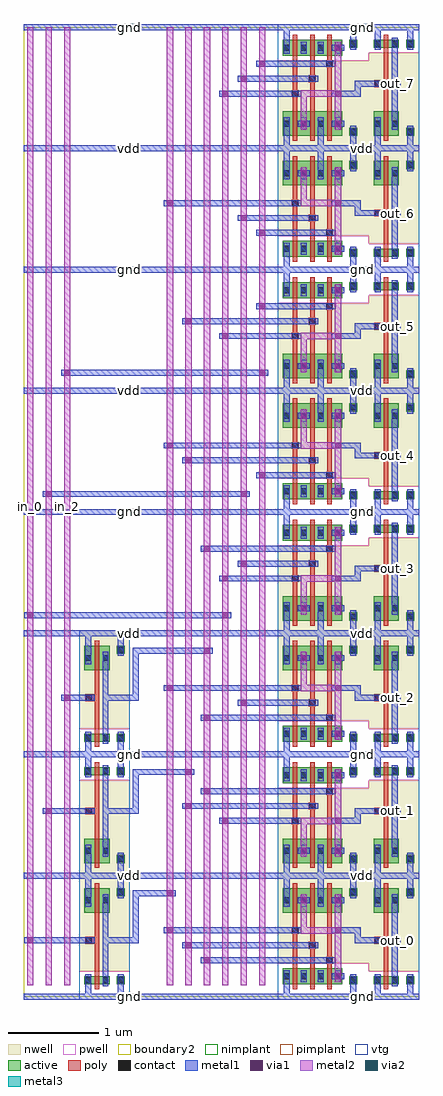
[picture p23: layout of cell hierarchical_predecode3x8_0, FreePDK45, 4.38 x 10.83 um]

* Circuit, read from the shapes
.subckt hierarchical_predecode3x8_0 gnd in_0 in_1 in_2 out_0 out_1 out_2 out_3 out_4 out_5 out_6 out_7 vdd
M1 pnand3_0_11/A in_0 gnd gnd nfet w=0.09u l=0.05u
M2 pnand3_0_11/B in_1 gnd gnd nfet w=0.09u l=0.05u
M3 pnand3_0_11/C in_2 gnd gnd nfet w=0.09u l=0.05u
M4 pnand3_0_11/nmos_m1_w0_180_a_p_3/D pnand3_0_11/A gnd gnd nfet w=0.18u l=0.05u
M5 pnand3_0_12/nmos_m1_w0_180_a_p_3/D in_0 gnd gnd nfet w=0.18u l=0.05u
M6 pnand3_0_13/nmos_m1_w0_180_a_p_3/D pnand3_0_11/A gnd gnd nfet w=0.18u l=0.05u
M7 pnand3_0_14/nmos_m1_w0_180_a_p_3/D in_0 gnd gnd nfet w=0.18u l=0.05u
M8 pnand3_0_15/nmos_m1_w0_180_a_p_3/D pnand3_0_11/A gnd gnd nfet w=0.18u l=0.05u
M9 pnand3_0_16/nmos_m1_w0_180_a_p_3/D in_0 gnd gnd nfet w=0.18u l=0.05u
M10 pnand3_0_17/nmos_m1_w0_180_a_p_3/D pnand3_0_11/A gnd gnd nfet w=0.18u l=0.05u
M11 pnand3_0_18/nmos_m1_w0_180_a_p_3/D in_0 gnd gnd nfet w=0.18u l=0.05u
M12 pnand3_0_11/nmos_m1_w0_180_a_p_4/D pnand3_0_11/B pnand3_0_11/nmos_m1_w0_180_a_p_3/D gnd nfet w=0.18u l=0.05u
M13 pnand3_0_12/nmos_m1_w0_180_a_p_4/D pnand3_0_11/B pnand3_0_12/nmos_m1_w0_180_a_p_3/D gnd nfet w=0.18u l=0.05u
M14 pnand3_0_13/nmos_m1_w0_180_a_p_4/D in_1 pnand3_0_13/nmos_m1_w0_180_a_p_3/D gnd nfet w=0.18u l=0.05u
M15 pnand3_0_14/nmos_m1_w0_180_a_p_4/D in_1 pnand3_0_14/nmos_m1_w0_180_a_p_3/D gnd nfet w=0.18u l=0.05u
M16 pnand3_0_15/nmos_m1_w0_180_a_p_4/D pnand3_0_11/B pnand3_0_15/nmos_m1_w0_180_a_p_3/D gnd nfet w=0.18u l=0.05u
M17 pnand3_0_16/nmos_m1_w0_180_a_p_4/D pnand3_0_11/B pnand3_0_16/nmos_m1_w0_180_a_p_3/D gnd nfet w=0.18u l=0.05u
M18 pnand3_0_17/nmos_m1_w0_180_a_p_4/D in_1 pnand3_0_17/nmos_m1_w0_180_a_p_3/D gnd nfet w=0.18u l=0.05u
M19 pnand3_0_18/nmos_m1_w0_180_a_p_4/D in_1 pnand3_0_18/nmos_m1_w0_180_a_p_3/D gnd nfet w=0.18u l=0.05u
M20 pinv_0_3/A pnand3_0_11/C pnand3_0_11/nmos_m1_w0_180_a_p_4/D gnd nfet w=0.18u l=0.05u
M21 pinv_0_4/A pnand3_0_11/C pnand3_0_12/nmos_m1_w0_180_a_p_4/D gnd nfet w=0.18u l=0.05u
M22 pinv_0_5/A pnand3_0_11/C pnand3_0_13/nmos_m1_w0_180_a_p_4/D gnd nfet w=0.18u l=0.05u
M23 pinv_0_6/A pnand3_0_11/C pnand3_0_14/nmos_m1_w0_180_a_p_4/D gnd nfet w=0.18u l=0.05u
M24 pinv_0_7/A in_2 pnand3_0_15/nmos_m1_w0_180_a_p_4/D gnd nfet w=0.18u l=0.05u
M25 pinv_0_8/A in_2 pnand3_0_16/nmos_m1_w0_180_a_p_4/D gnd nfet w=0.18u l=0.05u
M26 pinv_0_9/A in_2 pnand3_0_17/nmos_m1_w0_180_a_p_4/D gnd nfet w=0.18u l=0.05u
M27 pinv_0_10/A in_2 pnand3_0_18/nmos_m1_w0_180_a_p_4/D gnd nfet w=0.18u l=0.05u
M28 out_0 pinv_0_3/A gnd gnd nfet w=0.09u l=0.05u
M29 out_1 pinv_0_4/A gnd gnd nfet w=0.09u l=0.05u
M30 out_2 pinv_0_5/A gnd gnd nfet w=0.09u l=0.05u
M31 out_3 pinv_0_6/A gnd gnd nfet w=0.09u l=0.05u
M32 out_4 pinv_0_7/A gnd gnd nfet w=0.09u l=0.05u
M33 out_5 pinv_0_8/A gnd gnd nfet w=0.09u l=0.05u
M34 out_6 pinv_0_9/A gnd gnd nfet w=0.09u l=0.05u
M35 out_7 pinv_0_10/A gnd gnd nfet w=0.09u l=0.05u
M36 pnand3_0_11/A in_0 vdd vdd pfet w=0.27u l=0.05u
M37 pnand3_0_11/B in_1 vdd vdd pfet w=0.27u l=0.05u
M38 pnand3_0_11/C in_2 vdd vdd pfet w=0.27u l=0.05u
M39 pinv_0_3/A pnand3_0_11/A vdd vdd pfet w=0.27u l=0.05u
M40 pinv_0_4/A in_0 vdd vdd pfet w=0.27u l=0.05u
M41 pinv_0_5/A pnand3_0_11/A vdd vdd pfet w=0.27u l=0.05u
M42 pinv_0_6/A in_0 vdd vdd pfet w=0.27u l=0.05u
M43 pinv_0_7/A pnand3_0_11/A vdd vdd pfet w=0.27u l=0.05u
M44 pinv_0_8/A in_0 vdd vdd pfet w=0.27u l=0.05u
M45 pinv_0_9/A pnand3_0_11/A vdd vdd pfet w=0.27u l=0.05u
M46 pinv_0_10/A in_0 vdd vdd pfet w=0.27u l=0.05u
M47 vdd pnand3_0_11/B pinv_0_3/A vdd pfet w=0.27u l=0.05u
M48 vdd pnand3_0_11/B pinv_0_4/A vdd pfet w=0.27u l=0.05u
M49 vdd in_1 pinv_0_5/A vdd pfet w=0.27u l=0.05u
M50 vdd in_1 pinv_0_6/A vdd pfet w=0.27u l=0.05u
M51 vdd pnand3_0_11/B pinv_0_7/A vdd pfet w=0.27u l=0.05u
M52 vdd pnand3_0_11/B pinv_0_8/A vdd pfet w=0.27u l=0.05u
M53 vdd in_1 pinv_0_9/A vdd pfet w=0.27u l=0.05u
M54 vdd in_1 pinv_0_10/A vdd pfet w=0.27u l=0.05u
M55 pinv_0_3/A pnand3_0_11/C vdd vdd pfet w=0.27u l=0.05u
M56 pinv_0_4/A pnand3_0_11/C vdd vdd pfet w=0.27u l=0.05u
M57 pinv_0_5/A pnand3_0_11/C vdd vdd pfet w=0.27u l=0.05u
M58 pinv_0_6/A pnand3_0_11/C vdd vdd pfet w=0.27u l=0.05u
M59 pinv_0_7/A in_2 vdd vdd pfet w=0.27u l=0.05u
M60 pinv_0_8/A in_2 vdd vdd pfet w=0.27u l=0.05u
M61 pinv_0_9/A in_2 vdd vdd pfet w=0.27u l=0.05u
M62 pinv_0_10/A in_2 vdd vdd pfet w=0.27u l=0.05u
M63 out_0 pinv_0_3/A vdd vdd pfet w=0.27u l=0.05u
M64 out_1 pinv_0_4/A vdd vdd pfet w=0.27u l=0.05u
M65 out_2 pinv_0_5/A vdd vdd pfet w=0.27u l=0.05u
M66 out_3 pinv_0_6/A vdd vdd pfet w=0.27u l=0.05u
M67 out_4 pinv_0_7/A vdd vdd pfet w=0.27u l=0.05u
M68 out_5 pinv_0_8/A vdd vdd pfet w=0.27u l=0.05u
M69 out_6 pinv_0_9/A vdd vdd pfet w=0.27u l=0.05u
M70 out_7 pinv_0_10/A vdd vdd pfet w=0.27u l=0.05u
.ends

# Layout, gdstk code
import gdstk
lib = gdstk.Library(unit=1e-6, precision=5e-10)
def R(c, l, rs):  # rectangles x0, y0, x1, y1
    for r in rs: c.add(gdstk.rectangle(r[:2], r[2:], *l))
def A(c, l, x, y, w, h, nx, ny, dx, dy):  # array of equal rectangles
    R(c, l, [(x+i*dx, y+j*dy, x+i*dx+w, y+j*dy+h) for i in range(nx) for j in range(ny)])
active = (1, 0)
pwell = (2, 0)
nwell = (3, 0)
nimplant = (4, 0)
pimplant = (5, 0)
vtg = (6, 0)
poly = (9, 0)
contact = (10, 0)
metal1 = (11, 0)
via1 = (12, 0)
metal2 = (13, 0)
via2 = (14, 0)
metal3 = (15, 0)
boundary2 = (239, 0)

contact_9 = lib.new_cell('contact_9')
R(contact_9, active, [(0,0.0225,0.09,0.1125)])
R(contact_9, nwell, [(-0.055,-0.0325,0.145,0.1675)])
R(contact_9, pimplant, [(0,0.0225,0.09,0.1125)])
R(contact_9, contact, [(0.0125,0.035,0.0775,0.1)])
R(contact_9, metal1, [(0.0125,0,0.0775,0.135)])

pmos_m1_w0_270_a_p = lib.new_cell('pmos_m1_w0_270_a_p')
R(pmos_m1_w0_270_a_p, active, [(0,0,0.28,0.27)])
R(pmos_m1_w0_270_a_p, nwell, [(-0.055,-0.055,0.335,0.325)])
R(pmos_m1_w0_270_a_p, pimplant, [(0,0,0.28,0.27)])
R(pmos_m1_w0_270_a_p, vtg, [(-0.055,-0.055,0.335,0.325)])
R(pmos_m1_w0_270_a_p, poly, [(0.115,-0.055,0.165,0.325), (0.115,-0.055,0.165,0.325)])
R(pmos_m1_w0_270_a_p, metal1, [(0.0125,0.0675,0.0775,0.2025), (0.2025,0.0675,0.2675,0.2025)])
pmos_m1_w0_270_a_p.add(gdstk.Reference(contact_9, (0,0.0675)))
pmos_m1_w0_270_a_p.add(gdstk.Reference(contact_9, (0.19,0.0675)))
pmos_m1_w0_270_a_p.add(gdstk.Label('G', (0.14,0.135), layer=9, texttype=0))
pmos_m1_w0_270_a_p.add(gdstk.Label('S', (0.045,0.135), layer=11, texttype=0))
pmos_m1_w0_270_a_p.add(gdstk.Label('D', (0.235,0.135), layer=11, texttype=0))

contact_14 = lib.new_cell('contact_14')
R(contact_14, active, [(0,0.0225,0.09,0.1125)])
R(contact_14, pwell, [(-0.055,-0.0325,0.145,0.1675)])
R(contact_14, nimplant, [(0,0.0225,0.09,0.1125)])
R(contact_14, contact, [(0.0125,0.035,0.0775,0.1)])
R(contact_14, metal1, [(0.0125,0,0.0775,0.135)])

nmos_m1_w0_090_a_p = lib.new_cell('nmos_m1_w0_090_a_p')
R(nmos_m1_w0_090_a_p, active, [(0,0,0.28,0.09)])
R(nmos_m1_w0_090_a_p, pwell, [(-0.055,-0.055,0.335,0.145)])
R(nmos_m1_w0_090_a_p, nimplant, [(0,0,0.28,0.09)])
R(nmos_m1_w0_090_a_p, vtg, [(-0.055,-0.055,0.335,0.145)])
R(nmos_m1_w0_090_a_p, poly, [(0.115,-0.055,0.165,0.145), (0.115,-0.055,0.165,0.145)])
R(nmos_m1_w0_090_a_p, metal1, [(0.0125,-0.0225,0.0775,0.1125), (0.2025,-0.0225,0.2675,0.1125)])
nmos_m1_w0_090_a_p.add(gdstk.Reference(contact_14, (0,-0.0225)))
nmos_m1_w0_090_a_p.add(gdstk.Reference(contact_14, (0.19,-0.0225)))
nmos_m1_w0_090_a_p.add(gdstk.Label('G', (0.14,0.045), layer=9, texttype=0))
nmos_m1_w0_090_a_p.add(gdstk.Label('S', (0.045,0.045), layer=11, texttype=0))
nmos_m1_w0_090_a_p.add(gdstk.Label('D', (0.235,0.045), layer=11, texttype=0))

contact_18 = lib.new_cell('contact_18')
R(contact_18, active, [(0,0.0225,0.09,0.1125)])
R(contact_18, nwell, [(-0.055,-0.0325,0.145,0.1675)])
R(contact_18, nimplant, [(0,0.0225,0.09,0.1125)])
R(contact_18, contact, [(0.0125,0.035,0.0775,0.1)])
R(contact_18, metal1, [(0.0125,0,0.0775,0.135)])

contact_19 = lib.new_cell('contact_19')
R(contact_19, active, [(0,0.0225,0.09,0.1125)])
R(contact_19, pwell, [(-0.055,-0.0325,0.145,0.1675)])
R(contact_19, pimplant, [(0,0.0225,0.09,0.1125)])
R(contact_19, contact, [(0.0125,0.035,0.0775,0.1)])
R(contact_19, metal1, [(0.0125,0,0.0775,0.135)])

contact_10 = lib.new_cell('contact_10')
R(contact_10, poly, [(0.03,0,0.105,0.075)])
R(contact_10, contact, [(0.035,0.005,0.1,0.07)])
R(contact_10, metal1, [(0,0.005,0.135,0.07)])

pinv_0 = lib.new_cell('pinv_0')
R(pinv_0, pwell, [(0,-0.0325,0.56,0.285)])
R(pinv_0, nwell, [(0,0.285,0.56,1.3775)])
R(pinv_0, vtg, [(0,-0.0325,0.56,0.285), (0,0.285,0.56,1.3775)])
R(pinv_0, poly, [(0.17,0.085,0.22,0.88), (0.1025,0.59,0.17,0.665)])
R(pinv_0, metal1, [(0,-0.0325,0.56,0.0325), (0.0675,-0.0325,0.1325,0.1175), (0.4275,0,0.4925,0.185), (0.2575,0.1175,0.3225,1.1375), (0.035,0.595,0.17,0.66), (0.29,0.595,0.355,0.66), (0.0675,1.0025,0.1325,1.3775), (0.4275,1.16,0.4925,1.345), (0,1.3125,0.56,1.3775)])
R(pinv_0, boundary2, [(0,0,0.56,1.345)])
pinv_0.add(gdstk.Reference(pmos_m1_w0_270_a_p, (0.055,0.935)))
pinv_0.add(gdstk.Reference(nmos_m1_w0_090_a_p, (0.055,0.14)))
pinv_0.add(gdstk.Reference(contact_18, (0.415,1.0925)))
pinv_0.add(gdstk.Reference(contact_19, (0.415,0.1175)))
pinv_0.add(gdstk.Reference(contact_10, (0.035,0.59)))
pinv_0.add(gdstk.Label('gnd', (0.28,0), layer=11, texttype=0))
pinv_0.add(gdstk.Label('vdd', (0.28,1.345), layer=11, texttype=0))
pinv_0.add(gdstk.Label('A', (0.1025,0.6275), layer=11, texttype=0))
pinv_0.add(gdstk.Label('Z', (0.3225,0.6275), layer=11, texttype=0))

nmos_m1_w0_180_a_p = lib.new_cell('nmos_m1_w0_180_a_p')
R(nmos_m1_w0_180_a_p, active, [(0,0,0.28,0.18)])
R(nmos_m1_w0_180_a_p, pwell, [(-0.055,-0.055,0.335,0.235)])
R(nmos_m1_w0_180_a_p, nimplant, [(0,0,0.28,0.18)])
R(nmos_m1_w0_180_a_p, vtg, [(-0.055,-0.055,0.335,0.235)])
R(nmos_m1_w0_180_a_p, poly, [(0.115,-0.055,0.165,0.235), (0.115,-0.055,0.165,0.235)])
R(nmos_m1_w0_180_a_p, metal1, [(0.0125,0.0225,0.0775,0.1575), (0.2025,0.0225,0.2675,0.1575)])
nmos_m1_w0_180_a_p.add(gdstk.Reference(contact_14, (0,0.0225)))
nmos_m1_w0_180_a_p.add(gdstk.Reference(contact_14, (0.19,0.0225)))
nmos_m1_w0_180_a_p.add(gdstk.Label('G', (0.14,0.09), layer=9, texttype=0))
nmos_m1_w0_180_a_p.add(gdstk.Label('S', (0.045,0.09), layer=11, texttype=0))
nmos_m1_w0_180_a_p.add(gdstk.Label('D', (0.235,0.09), layer=11, texttype=0))

contact_16 = lib.new_cell('contact_16')
R(contact_16, metal1, [(0,0.035,0.135,0.1)])
R(contact_16, via1, [(0.035,0.035,0.1,0.1)])
R(contact_16, metal2, [(0.0325,0,0.1025,0.135)])

pnand3_0 = lib.new_cell('pnand3_0')
R(pnand3_0, pwell, [(0,-0.0325,1.01,0.375)])
R(pnand3_0, nwell, [(0,0.375,1.01,1.3775)])
R(pnand3_0, vtg, [(0,-0.0325,1.01,0.375), (0,0.375,1.01,1.3775)])
A(pnand3_0, poly, 0.17, 0.085, 0.05, 0.795, 3, 1, 0.19, 0)
R(pnand3_0, poly, [(0.55,0.37,0.575,0.445), (0.36,0.535,0.385,0.61), (0.17,0.7,0.195,0.775)])
R(pnand3_0, metal1, [(0,-0.0325,1.01,0.0325), (0.0675,-0.0325,0.1325,0.1625), (0.8075,0,0.8725,0.185), (0.5075,0.375,0.6425,0.44), (0.3175,0.54,0.4525,0.605), (0.1275,0.705,0.2625,0.77), (0.6025,0.705,0.7375,0.77), (0.0675,1.0025,0.1325,1.3775), (0.4475,1.0025,0.5125,1.3775), (0.8075,1.16,0.8725,1.345), (0,1.3125,1.01,1.3775)])
R(pnand3_0, metal2, [(0.635,0.2975,0.705,1.0025), (0.635,0.2975,0.705,0.7375), (0.255,0.7025,0.325,0.7725), (0.29,0.7025,0.67,0.7725), (0.635,0.7025,0.705,0.7725), (0.255,0.7375,0.325,1.0025)])
R(pnand3_0, boundary2, [(0,0,1.01,1.345)])
pnand3_0.add(gdstk.Reference(pmos_m1_w0_270_a_p, (0.055,0.935)))
pnand3_0.add(gdstk.Reference(pmos_m1_w0_270_a_p, (0.245,0.935)))
pnand3_0.add(gdstk.Reference(pmos_m1_w0_270_a_p, (0.435,0.935)))
pnand3_0.add(gdstk.Reference(nmos_m1_w0_180_a_p, (0.055,0.14)))
pnand3_0.add(gdstk.Reference(nmos_m1_w0_180_a_p, (0.245,0.14)))
pnand3_0.add(gdstk.Reference(nmos_m1_w0_180_a_p, (0.435,0.14)))
pnand3_0.add(gdstk.Reference(contact_18, (0.795,1.0925)))
pnand3_0.add(gdstk.Reference(contact_19, (0.795,0.1175)))
pnand3_0.add(gdstk.Reference(contact_10, (0.5075,0.37)))
pnand3_0.add(gdstk.Reference(contact_10, (0.3175,0.535)))
pnand3_0.add(gdstk.Reference(contact_10, (0.1275,0.7)))
pnand3_0.add(gdstk.Reference(contact_16, (0.2225,1.0025)))
pnand3_0.add(gdstk.Reference(contact_16, (0.6025,1.0025)))
pnand3_0.add(gdstk.Reference(contact_16, (0.6025,0.1625)))
pnand3_0.add(gdstk.Reference(contact_16, (0.6025,0.67)))
pnand3_0.add(gdstk.Label('gnd', (0.505,0), layer=11, texttype=0))
pnand3_0.add(gdstk.Label('vdd', (0.505,1.345), layer=11, texttype=0))
pnand3_0.add(gdstk.Label('C', (0.575,0.4075), layer=11, texttype=0))
pnand3_0.add(gdstk.Label('B', (0.385,0.5725), layer=11, texttype=0))
pnand3_0.add(gdstk.Label('A', (0.195,0.7375), layer=11, texttype=0))
pnand3_0.add(gdstk.Label('Z', (0.67,0.7375), layer=11, texttype=0))

contact_5 = lib.new_cell('contact_5')
R(contact_5, metal1, [(0,0.0025,0.135,0.0675)])
R(contact_5, via1, [(0.035,0.0025,0.1,0.0675)])
R(contact_5, metal2, [(0,0,0.135,0.07)])

contact_6 = lib.new_cell('contact_6')
R(contact_6, metal2, [(0,0,0.135,0.07)])
R(contact_6, via2, [(0.035,0.0025,0.1,0.0675)])
R(contact_6, metal3, [(0,0,0.135,0.07)])

hierarchical_predecode3x = lib.new_cell('hierarchical_predecode3x8_0')
A(hierarchical_predecode3x, metal1, 1.62, 0.705, 1.3225, 0.065, 1, 4, 0, 2.69)
A(hierarchical_predecode3x, metal1, 2.235, 1.92, 0.7075, 0.065, 1, 4, 0, 2.69)
R(hierarchical_predecode3x, metal1, [(0,-0.0325,4.385,0.0325), (2.03,0.375,3.3225,0.44), (1.825,0.54,3.1325,0.605), (0.07,0.595,0.65,0.66), (0.97,0.595,1.24,0.66), (1.2075,0.595,1.2725,0.66), (3.6725,0.595,3.7375,0.66), (3.705,0.595,3.86,0.66), (4.115,0.595,4.18,0.66), (1.2075,0.6275,1.2725,1.15), (3.6725,0.6275,3.7375,0.7375), (3.5525,0.705,3.705,0.77), (3.6725,0.705,3.7375,0.77), (1.2075,1.1175,1.2725,1.1825), (1.24,1.1175,1.62,1.1825), (0,1.3125,4.385,1.3775), (0,1.3125,4.385,1.3775), (3.5525,1.92,3.705,1.985), (3.6725,1.92,3.7375,1.985), (3.6725,1.9525,3.7375,2.0625), (0.275,2.03,0.65,2.095), (0.97,2.03,1.24,2.095), (1.2075,2.03,1.2725,2.095), (3.6725,2.03,3.7375,2.095), (3.705,2.03,3.86,2.095), (4.115,2.03,4.18,2.095), (1.2075,2.0625,1.2725,2.495), (1.825,2.085,3.1325,2.15), (2.03,2.25,3.3225,2.315), (1.2075,2.4625,1.2725,2.5275), (1.24,2.4625,1.825,2.5275), (0,2.6575,4.385,2.7225), (0,2.6575,4.385,2.7225), (2.03,3.065,3.3225,3.13), (2.44,3.23,3.1325,3.295), (0.48,3.285,0.65,3.35), (0.97,3.285,1.24,3.35), (1.2075,3.285,1.2725,3.35), (3.6725,3.285,3.7375,3.35), (3.705,3.285,3.86,3.35), (4.115,3.285,4.18,3.35), (1.2075,3.3175,1.2725,3.84), (3.6725,3.3175,3.7375,3.4275), (3.5525,3.395,3.705,3.46), (3.6725,3.395,3.7375,3.46), (1.2075,3.8075,1.2725,3.8725), (1.24,3.8075,2.03,3.8725), (0,4.0025,4.385,4.0675), (0,4.0025,4.385,4.0675), (0.07,4.2025,2.235,4.2675), (3.5525,4.61,3.705,4.675), (3.6725,4.61,3.7375,4.675), (3.6725,4.6425,3.7375,4.7525), (3.6725,4.72,3.7375,4.785), (3.705,4.72,3.86,4.785), (4.115,4.72,4.18,4.785), (2.44,4.775,3.1325,4.84), (2.03,4.94,3.3225,5.005), (0,5.3475,4.385,5.4125), (0,5.3475,4.385,5.4125), (0.275,5.5475,2.44,5.6125), (2.645,5.755,3.3225,5.82), (1.825,5.92,3.1325,5.985), (3.6725,5.975,3.7375,6.04), (3.705,5.975,3.86,6.04), (4.115,5.975,4.18,6.04), (3.6725,6.0075,3.7375,6.1175), (3.5525,6.085,3.705,6.15), (3.6725,6.085,3.7375,6.15), (0,6.6925,4.385,6.7575), (0,6.6925,4.385,6.7575), (0.48,6.8925,2.645,6.9575), (3.5525,7.3,3.705,7.365), (3.6725,7.3,3.7375,7.365), (3.6725,7.3325,3.7375,7.4425), (3.6725,7.41,3.7375,7.475), (3.705,7.41,3.86,7.475), (4.115,7.41,4.18,7.475), (1.825,7.465,3.1325,7.53), (2.645,7.63,3.3225,7.695), (0,8.0375,4.385,8.1025), (0,8.0375,4.385,8.1025), (2.645,8.445,3.3225,8.51), (2.44,8.61,3.1325,8.675), (3.6725,8.665,3.7375,8.73), (3.705,8.665,3.86,8.73), (4.115,8.665,4.18,8.73), (3.6725,8.6975,3.7375,8.8075), (3.5525,8.775,3.705,8.84), (3.6725,8.775,3.7375,8.84), (0,9.3825,4.385,9.4475), (0,9.3825,4.385,9.4475), (3.5525,9.99,3.705,10.055), (3.6725,9.99,3.7375,10.055), (3.6725,10.0225,3.7375,10.1325), (3.6725,10.1,3.7375,10.165), (3.705,10.1,3.86,10.165), (4.115,10.1,4.18,10.165), (2.44,10.155,3.1325,10.22), (2.645,10.32,3.3225,10.385), (0,10.7275,4.385,10.7925)])
A(hierarchical_predecode3x, metal2, 0.035, 0.13, 0.07, 10.63, 3, 1, 0.205, 0)
A(hierarchical_predecode3x, metal2, 1.585, 0.13, 0.07, 10.63, 6, 1, 0.205, 0)
A(hierarchical_predecode3x, metal3, 1.1075, -0.035, 0.135, 0.07, 1, 9, 0, 1.345)
A(hierarchical_predecode3x, metal3, 3.6925, -0.035, 0.135, 0.07, 1, 9, 0, 1.345)
R(hierarchical_predecode3x, boundary2, [(0,0,4.385,10.76)])
hierarchical_predecode3x.add(gdstk.Reference(pinv_0, (0.615,0)))
hierarchical_predecode3x.add(gdstk.Reference(pinv_0, (0.615,2.69), x_reflection=True))
hierarchical_predecode3x.add(gdstk.Reference(pinv_0, (0.615,2.69)))
hierarchical_predecode3x.add(gdstk.Reference(pinv_0, (3.825,0)))
hierarchical_predecode3x.add(gdstk.Reference(pinv_0, (3.825,2.69), x_reflection=True))
hierarchical_predecode3x.add(gdstk.Reference(pinv_0, (3.825,2.69)))
hierarchical_predecode3x.add(gdstk.Reference(pinv_0, (3.825,5.38), x_reflection=True))
hierarchical_predecode3x.add(gdstk.Reference(pinv_0, (3.825,5.38)))
hierarchical_predecode3x.add(gdstk.Reference(pinv_0, (3.825,8.07), x_reflection=True))
hierarchical_predecode3x.add(gdstk.Reference(pinv_0, (3.825,8.07)))
hierarchical_predecode3x.add(gdstk.Reference(pinv_0, (3.825,10.76), x_reflection=True))
hierarchical_predecode3x.add(gdstk.Reference(pnand3_0, (2.815,0)))
hierarchical_predecode3x.add(gdstk.Reference(pnand3_0, (2.815,2.69), x_reflection=True))
hierarchical_predecode3x.add(gdstk.Reference(pnand3_0, (2.815,2.69)))
hierarchical_predecode3x.add(gdstk.Reference(pnand3_0, (2.815,5.38), x_reflection=True))
hierarchical_predecode3x.add(gdstk.Reference(pnand3_0, (2.815,5.38)))
hierarchical_predecode3x.add(gdstk.Reference(pnand3_0, (2.815,8.07), x_reflection=True))
hierarchical_predecode3x.add(gdstk.Reference(pnand3_0, (2.815,8.07)))
hierarchical_predecode3x.add(gdstk.Reference(pnand3_0, (2.815,10.76), x_reflection=True))
hierarchical_predecode3x.add(gdstk.Reference(contact_16, (1.5525,1.0825)))
hierarchical_predecode3x.add(gdstk.Reference(contact_16, (0.0025,0.56)))
hierarchical_predecode3x.add(gdstk.Reference(contact_16, (1.7575,2.4275)))
hierarchical_predecode3x.add(gdstk.Reference(contact_16, (0.2075,1.995)))
hierarchical_predecode3x.add(gdstk.Reference(contact_16, (1.9625,3.7725)))
hierarchical_predecode3x.add(gdstk.Reference(contact_16, (0.4125,3.25)))
hierarchical_predecode3x.add(gdstk.Reference(contact_16, (0.0025,4.1675)))
hierarchical_predecode3x.add(gdstk.Reference(contact_16, (2.1675,4.1675)))
hierarchical_predecode3x.add(gdstk.Reference(contact_16, (0.2075,5.5125)))
hierarchical_predecode3x.add(gdstk.Reference(contact_16, (2.3725,5.5125)))
hierarchical_predecode3x.add(gdstk.Reference(contact_16, (0.4125,6.8575)))
hierarchical_predecode3x.add(gdstk.Reference(contact_16, (2.5775,6.8575)))
hierarchical_predecode3x.add(gdstk.Reference(contact_16, (1.5525,0.67)))
hierarchical_predecode3x.add(gdstk.Reference(contact_16, (1.7575,0.505)))
hierarchical_predecode3x.add(gdstk.Reference(contact_16, (1.9625,0.34)))
hierarchical_predecode3x.add(gdstk.Reference(contact_16, (2.1675,1.885)))
hierarchical_predecode3x.add(gdstk.Reference(contact_16, (1.7575,2.05)))
hierarchical_predecode3x.add(gdstk.Reference(contact_16, (1.9625,2.215)))
hierarchical_predecode3x.add(gdstk.Reference(contact_16, (1.5525,3.36)))
hierarchical_predecode3x.add(gdstk.Reference(contact_16, (2.3725,3.195)))
hierarchical_predecode3x.add(gdstk.Reference(contact_16, (1.9625,3.03)))
hierarchical_predecode3x.add(gdstk.Reference(contact_16, (2.1675,4.575)))
hierarchical_predecode3x.add(gdstk.Reference(contact_16, (2.3725,4.74)))
hierarchical_predecode3x.add(gdstk.Reference(contact_16, (1.9625,4.905)))
hierarchical_predecode3x.add(gdstk.Reference(contact_16, (1.5525,6.05)))
hierarchical_predecode3x.add(gdstk.Reference(contact_16, (1.7575,5.885)))
hierarchical_predecode3x.add(gdstk.Reference(contact_16, (2.5775,5.72)))
hierarchical_predecode3x.add(gdstk.Reference(contact_16, (2.1675,7.265)))
hierarchical_predecode3x.add(gdstk.Reference(contact_16, (1.7575,7.43)))
hierarchical_predecode3x.add(gdstk.Reference(contact_16, (2.5775,7.595)))
hierarchical_predecode3x.add(gdstk.Reference(contact_16, (1.5525,8.74)))
hierarchical_predecode3x.add(gdstk.Reference(contact_16, (2.3725,8.575)))
hierarchical_predecode3x.add(gdstk.Reference(contact_16, (2.5775,8.41)))
hierarchical_predecode3x.add(gdstk.Reference(contact_16, (2.1675,9.955)))
hierarchical_predecode3x.add(gdstk.Reference(contact_16, (2.3725,10.12)))
hierarchical_predecode3x.add(gdstk.Reference(contact_16, (2.5775,10.285)))
hierarchical_predecode3x.add(gdstk.Reference(contact_5, (1.1075,1.31)))
hierarchical_predecode3x.add(gdstk.Reference(contact_6, (1.1075,1.31)))
hierarchical_predecode3x.add(gdstk.Reference(contact_5, (3.6925,1.31)))
hierarchical_predecode3x.add(gdstk.Reference(contact_6, (3.6925,1.31)))
hierarchical_predecode3x.add(gdstk.Reference(contact_5, (1.1075,-0.035)))
hierarchical_predecode3x.add(gdstk.Reference(contact_6, (1.1075,-0.035)))
hierarchical_predecode3x.add(gdstk.Reference(contact_5, (3.6925,-0.035)))
hierarchical_predecode3x.add(gdstk.Reference(contact_6, (3.6925,-0.035)))
hierarchical_predecode3x.add(gdstk.Reference(contact_5, (1.1075,1.31)))
hierarchical_predecode3x.add(gdstk.Reference(contact_6, (1.1075,1.31)))
hierarchical_predecode3x.add(gdstk.Reference(contact_5, (3.6925,1.31)))
hierarchical_predecode3x.add(gdstk.Reference(contact_6, (3.6925,1.31)))
hierarchical_predecode3x.add(gdstk.Reference(contact_5, (1.1075,2.655)))
hierarchical_predecode3x.add(gdstk.Reference(contact_6, (1.1075,2.655)))
hierarchical_predecode3x.add(gdstk.Reference(contact_5, (3.6925,2.655)))
hierarchical_predecode3x.add(gdstk.Reference(contact_6, (3.6925,2.655)))
hierarchical_predecode3x.add(gdstk.Reference(contact_5, (1.1075,4)))
hierarchical_predecode3x.add(gdstk.Reference(contact_6, (1.1075,4)))
hierarchical_predecode3x.add(gdstk.Reference(contact_5, (3.6925,4)))
hierarchical_predecode3x.add(gdstk.Reference(contact_6, (3.6925,4)))
hierarchical_predecode3x.add(gdstk.Reference(contact_5, (1.1075,2.655)))
hierarchical_predecode3x.add(gdstk.Reference(contact_6, (1.1075,2.655)))
hierarchical_predecode3x.add(gdstk.Reference(contact_5, (3.6925,2.655)))
hierarchical_predecode3x.add(gdstk.Reference(contact_6, (3.6925,2.655)))
hierarchical_predecode3x.add(gdstk.Reference(contact_5, (1.1075,4)))
hierarchical_predecode3x.add(gdstk.Reference(contact_6, (1.1075,4)))
hierarchical_predecode3x.add(gdstk.Reference(contact_5, (3.6925,4)))
hierarchical_predecode3x.add(gdstk.Reference(contact_6, (3.6925,4)))
hierarchical_predecode3x.add(gdstk.Reference(contact_5, (1.1075,5.345)))
hierarchical_predecode3x.add(gdstk.Reference(contact_6, (1.1075,5.345)))
hierarchical_predecode3x.add(gdstk.Reference(contact_5, (3.6925,5.345)))
hierarchical_predecode3x.add(gdstk.Reference(contact_6, (3.6925,5.345)))
hierarchical_predecode3x.add(gdstk.Reference(contact_5, (1.1075,6.69)))
hierarchical_predecode3x.add(gdstk.Reference(contact_6, (1.1075,6.69)))
hierarchical_predecode3x.add(gdstk.Reference(contact_5, (3.6925,6.69)))
hierarchical_predecode3x.add(gdstk.Reference(contact_6, (3.6925,6.69)))
hierarchical_predecode3x.add(gdstk.Reference(contact_5, (1.1075,5.345)))
hierarchical_predecode3x.add(gdstk.Reference(contact_6, (1.1075,5.345)))
hierarchical_predecode3x.add(gdstk.Reference(contact_5, (3.6925,5.345)))
hierarchical_predecode3x.add(gdstk.Reference(contact_6, (3.6925,5.345)))
hierarchical_predecode3x.add(gdstk.Reference(contact_5, (1.1075,6.69)))
hierarchical_predecode3x.add(gdstk.Reference(contact_6, (1.1075,6.69)))
hierarchical_predecode3x.add(gdstk.Reference(contact_5, (3.6925,6.69)))
hierarchical_predecode3x.add(gdstk.Reference(contact_6, (3.6925,6.69)))
hierarchical_predecode3x.add(gdstk.Reference(contact_5, (1.1075,8.035)))
hierarchical_predecode3x.add(gdstk.Reference(contact_6, (1.1075,8.035)))
hierarchical_predecode3x.add(gdstk.Reference(contact_5, (3.6925,8.035)))
hierarchical_predecode3x.add(gdstk.Reference(contact_6, (3.6925,8.035)))
hierarchical_predecode3x.add(gdstk.Reference(contact_5, (1.1075,9.38)))
hierarchical_predecode3x.add(gdstk.Reference(contact_6, (1.1075,9.38)))
hierarchical_predecode3x.add(gdstk.Reference(contact_5, (3.6925,9.38)))
hierarchical_predecode3x.add(gdstk.Reference(contact_6, (3.6925,9.38)))
hierarchical_predecode3x.add(gdstk.Reference(contact_5, (1.1075,8.035)))
hierarchical_predecode3x.add(gdstk.Reference(contact_6, (1.1075,8.035)))
hierarchical_predecode3x.add(gdstk.Reference(contact_5, (3.6925,8.035)))
hierarchical_predecode3x.add(gdstk.Reference(contact_6, (3.6925,8.035)))
hierarchical_predecode3x.add(gdstk.Reference(contact_5, (1.1075,9.38)))
hierarchical_predecode3x.add(gdstk.Reference(contact_6, (1.1075,9.38)))
hierarchical_predecode3x.add(gdstk.Reference(contact_5, (3.6925,9.38)))
hierarchical_predecode3x.add(gdstk.Reference(contact_6, (3.6925,9.38)))
hierarchical_predecode3x.add(gdstk.Reference(contact_5, (1.1075,10.725)))
hierarchical_predecode3x.add(gdstk.Reference(contact_6, (1.1075,10.725)))
hierarchical_predecode3x.add(gdstk.Reference(contact_5, (3.6925,10.725)))
hierarchical_predecode3x.add(gdstk.Reference(contact_6, (3.6925,10.725)))
hierarchical_predecode3x.add(gdstk.Label('in_0', (0.07,5.445), layer=13, texttype=0))
hierarchical_predecode3x.add(gdstk.Label('in_1', (0.275,5.445), layer=13, texttype=0))
hierarchical_predecode3x.add(gdstk.Label('in_2', (0.48,5.445), layer=13, texttype=0))
hierarchical_predecode3x.add(gdstk.Label('out_0', (4.1475,0.6275), layer=11, texttype=0))
hierarchical_predecode3x.add(gdstk.Label('out_1', (4.1475,2.0625), layer=11, texttype=0))
hierarchical_predecode3x.add(gdstk.Label('out_2', (4.1475,3.3175), layer=11, texttype=0))
hierarchical_predecode3x.add(gdstk.Label('out_3', (4.1475,4.7525), layer=11, texttype=0))
hierarchical_predecode3x.add(gdstk.Label('out_4', (4.1475,6.0075), layer=11, texttype=0))
hierarchical_predecode3x.add(gdstk.Label('out_5', (4.1475,7.4425), layer=11, texttype=0))
hierarchical_predecode3x.add(gdstk.Label('out_6', (4.1475,8.6975), layer=11, texttype=0))
hierarchical_predecode3x.add(gdstk.Label('out_7', (4.1475,10.1325), layer=11, texttype=0))
hierarchical_predecode3x.add(gdstk.Label('vdd', (1.175,9.415), layer=15, texttype=0))
hierarchical_predecode3x.add(gdstk.Label('vdd', (3.76,9.415), layer=15, texttype=0))
hierarchical_predecode3x.add(gdstk.Label('vdd', (1.175,1.345), layer=15, texttype=0))
hierarchical_predecode3x.add(gdstk.Label('vdd', (3.76,4.035), layer=15, texttype=0))
hierarchical_predecode3x.add(gdstk.Label('vdd', (1.175,4.035), layer=15, texttype=0))
hierarchical_predecode3x.add(gdstk.Label('vdd', (3.76,6.725), layer=15, texttype=0))
hierarchical_predecode3x.add(gdstk.Label('vdd', (1.175,6.725), layer=15, texttype=0))
hierarchical_predecode3x.add(gdstk.Label('vdd', (3.76,1.345), layer=15, texttype=0))
hierarchical_predecode3x.add(gdstk.Label('gnd', (3.76,2.69), layer=15, texttype=0))
hierarchical_predecode3x.add(gdstk.Label('gnd', (1.175,0), layer=15, texttype=0))
hierarchical_predecode3x.add(gdstk.Label('gnd', (3.76,8.07), layer=15, texttype=0))
hierarchical_predecode3x.add(gdstk.Label('gnd', (1.175,5.38), layer=15, texttype=0))
hierarchical_predecode3x.add(gdstk.Label('gnd', (1.175,10.76), layer=15, texttype=0))
hierarchical_predecode3x.add(gdstk.Label('gnd', (3.76,5.38), layer=15, texttype=0))
hierarchical_predecode3x.add(gdstk.Label('gnd', (1.175,2.69), layer=15, texttype=0))
hierarchical_predecode3x.add(gdstk.Label('gnd', (1.175,8.07), layer=15, texttype=0))
hierarchical_predecode3x.add(gdstk.Label('gnd', (3.76,0), layer=15, texttype=0))
hierarchical_predecode3x.add(gdstk.Label('gnd', (3.76,10.76), layer=15, texttype=0))

lib.write_gds('hierarchical_predecode3x8_0.gds')
